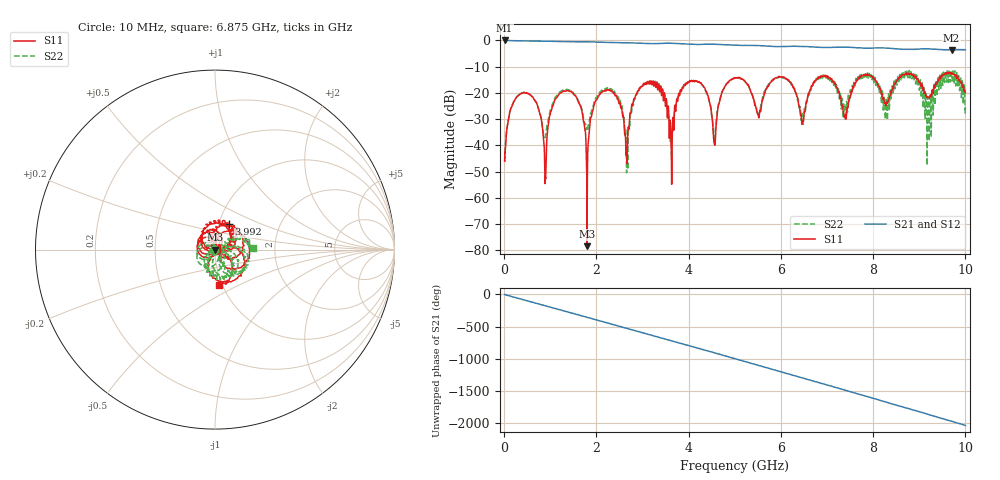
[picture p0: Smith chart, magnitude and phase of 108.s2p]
!Keysight Technologies,E5080B,MY59205177,A.15.75.32
!Date: Friday, February 23, 2024 03:36:31
!Correction: S11(Cdelta 2-Port  )
!S21(Cdelta 2-Port  )
!S12(Cdelta 2-Port  )
!S22(Cdelta 2-Port  )
!S2P File: Measurements: S11, S21, S12, S22:
# Hz S  dB  R 50
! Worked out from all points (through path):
!   10001 points, 10 MHz to 10 GHz, reference 50 ohm
!   highest |S21| = -0.02 dB at 10 MHz (marker M1); lowest = -3.7 dB at 9.701 GHz (marker M2)
!   group delay of S21, straight-line fit = 565 ps
!   lowest |S11| = -78.5 dB at 1.799 GHz (marker M3), VSWR 1.00, Z = 50 - j0.0119 ohm
!   |S11| at or under -10 dB: start of sweep to end of sweep
!   |S22| runs from -50.5 to -11.1 dB; largest |S21 - S12| = 0.0015
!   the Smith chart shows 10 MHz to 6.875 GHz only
!   S11 on the Smith chart (normalised r, x): 10 MHz: 1.01, -0.00; 3.992 GHz: 1.12, +0.32; 6.875 GHz: 0.96, -0.40
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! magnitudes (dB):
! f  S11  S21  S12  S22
! 10 MHz  -46.1  0.0  0.0  -45.9
! 372.6 MHz  -20.2  -0.2  -0.2  -20.1
! 888.1 MHz  -54.0  -0.3  -0.3  -36.9
! 1.178 GHz  -20.8  -0.4  -0.4  -20.2
! 1.675 GHz  -26.2  -0.5  -0.5  -25.6
! 1.799 GHz  -78.5  -0.5  -0.5  -33.2
! 2.108 GHz  -19.9  -0.7  -0.7  -19.0
! 2.662 GHz  -46.6  -0.9  -0.9  -43.8
! 2.892 GHz  -19.3  -1.0  -1.0  -20.0
! 3.341 GHz  -17.4  -1.2  -1.2  -17.7
! 3.627 GHz  -47.1  -1.1  -1.1  -41.9
! 3.992 GHz  -15.9  -1.4  -1.4  -15.9
! 4.561 GHz  -39.6  -1.5  -1.5  -38.5
! 5.005 GHz  -14.2  -1.8  -1.8  -14.5
! 6.464 GHz  -31.4  -2.3  -2.3  -27.9
! 6.67 GHz  -17.3  -2.5  -2.5  -17.0
! 6.875 GHz  -14.0  -2.6  -2.6  -13.5
! 7.386 GHz  -29.4  -2.6  -2.6  -26.2
! 7.796 GHz  -13.1  -2.9  -2.9  -12.9
! 8.336 GHz  -22.7  -3.0  -3.0  -20.9
! 9.701 GHz  -12.2  -3.7  -3.7  -13.8
! 10 GHz  -20.0  -3.6  -3.6  -25.4
